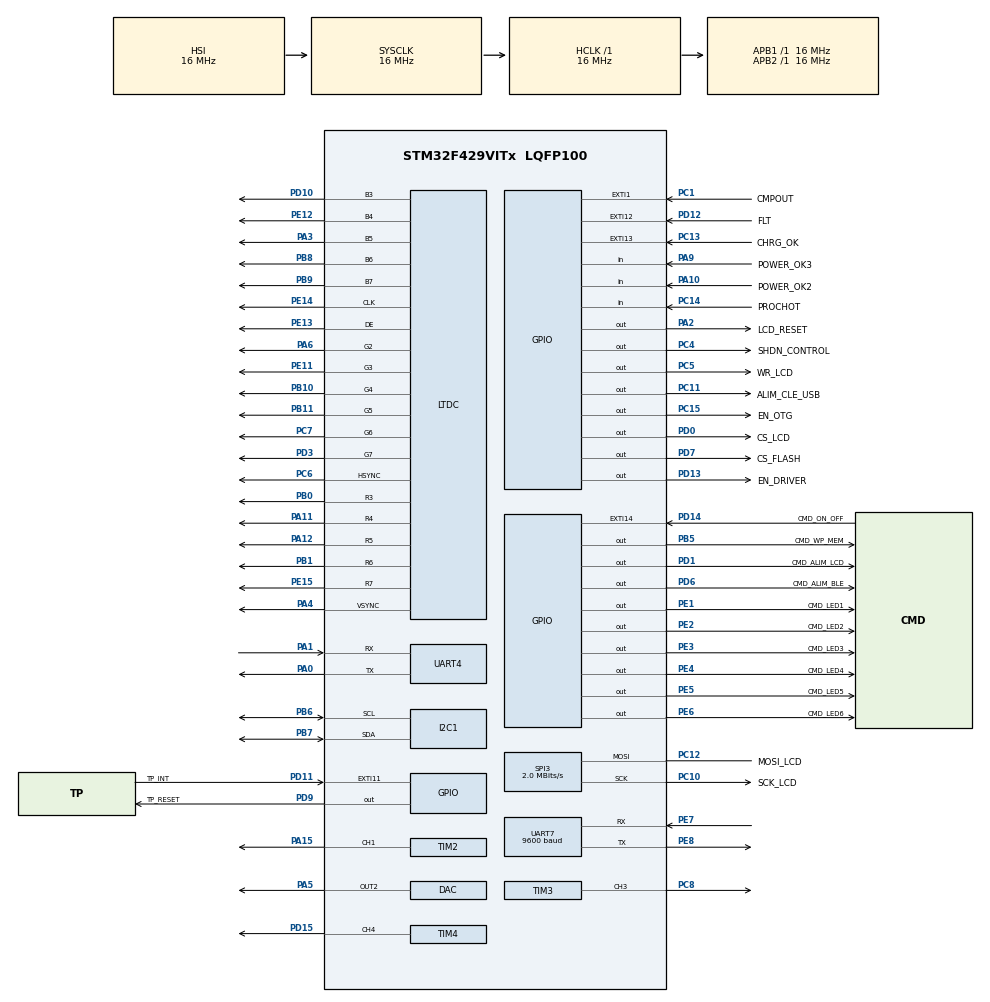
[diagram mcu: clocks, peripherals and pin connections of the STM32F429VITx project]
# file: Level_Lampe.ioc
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DMA2D.ColorMode=DMA2D_OUTPUT_RGB565
I2C1.I2C_Mode=I2C_Standard
LTDC.ActiveH=320
LTDC.ActiveW=240
LTDC.Alpha_L0=255
LTDC.FBStartAdress_L0=0xD0000000
LTDC.HBP=20
LTDC.HFP=10
LTDC.HSync=10
LTDC.ImageHeight_L0=320
LTDC.ImageWidth_L0=240
LTDC.Layers=0
LTDC.PixelFormat_L0=LTDC_PIXEL_FORMAT_RGB565
LTDC.PixelFormat_L1=LTDC_PIXEL_FORMAT_RGB565
LTDC.VFP=4
LTDC.VSync=2
LTDC.WindowX1_L0=240
LTDC.WindowY1_L0=320
Mcu.Family=STM32F4
Mcu.Name=STM32F429VITx
Mcu.Package=LQFP100
NVIC.EXTI15_10_IRQn=true\:0\:0\:false\:false\:true\:true\:true
NVIC.LTDC_ER_IRQn=true\:0\:0\:false\:false\:true\:true\:true
NVIC.LTDC_IRQn=true\:0\:0\:false\:false\:true\:true\:true
NVIC.PriorityGroup=NVIC_PRIORITYGROUP_4
NVIC.UART7_IRQn=true\:5\:0\:true\:false\:true\:true\:true
PA0/WKUP.Mode=Asynchronous
PA0/WKUP.Signal=UART4_TX
PA1.Mode=Asynchronous
PA1.Signal=UART4_RX
PA10.GPIO_Label=POWER_OK2
PA10.Signal=GPIO_Input
PA11.Mode=RGB565
PA11.Signal=LTDC_R4
PA12.Mode=RGB565
PA12.Signal=LTDC_R5
PA13.Mode=Serial_Wire
PA13.Signal=SYS_JTMS-SWDIO
PA14.Mode=Serial_Wire
PA14.Signal=SYS_JTCK-SWCLK
PA15.Signal=S_TIM2_CH1_ETR
PA2.GPIO_Label=LCD_RESET
PA2.Signal=GPIO_Output
PA3.Mode=RGB565
PA3.Signal=LTDC_B5
PA4.Mode=RGB565
PA4.Signal=LTDC_VSYNC
PA5.Signal=COMP_DAC2_group
PA6.Mode=RGB565
PA6.Signal=LTDC_G2
PA7.Signal=SPI1_MOSI
PA8.Signal=I2C3_SCL
PA9.GPIO_Label=POWER_OK3
PA9.Signal=GPIO_Input
PB0.Mode=RGB565
PB0.Signal=LTDC_R3
PB1.Mode=RGB565
PB1.Signal=LTDC_R6
PB10.Mode=RGB565
PB10.Signal=LTDC_G4
PB11.Mode=RGB565
PB11.Signal=LTDC_G5
PB14.Signal=USB_OTG_HS_DM
PB15.Signal=USB_OTG_HS_DP
PB3.Signal=SPI1_SCK
PB4.Signal=SPI1_MISO
PB5.GPIO_Label=CMD_WP_MEM
PB5.Signal=GPIO_Output
PB6.Mode=I2C
PB6.Signal=I2C1_SCL
PB7.Mode=I2C
PB7.Signal=I2C1_SDA
PB8.Mode=RGB565
PB8.Signal=LTDC_B6
PB9.Mode=RGB565
PB9.Signal=LTDC_B7
PC1.GPIO_Label=CMPOUT
PC1.Signal=GPXTI1
PC10.GPIO_Label=SCK_LCD
PC10.Mode=Simplex_Bidirectional_Master
PC10.Signal=SPI3_SCK
PC11.GPIO_Label=ALIM_CLE_USB
PC11.Signal=GPIO_Output
PC12.GPIO_Label=MOSI_LCD
PC12.Mode=Simplex_Bidirectional_Master
PC12.Signal=SPI3_MOSI
PC13.GPIO_Label=CHRG_OK
PC13.Signal=GPXTI13
PC14/OSC32_IN.GPIO_Label=PROCHOT
PC14/OSC32_IN.Signal=GPIO_Input
PC15/OSC32_OUT.GPIO_Label=EN_OTG
PC15/OSC32_OUT.Signal=GPIO_Output
PC4.GPIO_Label=SHDN_CONTROL
PC4.Signal=GPIO_Output
PC5.GPIO_Label=WR_LCD
PC5.Signal=GPIO_Output
PC6.Mode=RGB565
PC6.Signal=LTDC_HSYNC
PC7.Mode=RGB565
PC7.Signal=LTDC_G6
PC8.Signal=S_TIM3_CH3
PC9.Signal=I2C3_SDA
PD0.GPIO_Label=CS_LCD
PD0.Signal=GPIO_Output
PD1.GPIO_Label=CMD_ALIM_LCD
PD1.Signal=GPIO_Output
PD10.Mode=RGB565
PD10.Signal=LTDC_B3
PD11.GPIO_Label=TP_INT
PD11.Signal=GPXTI11
PD12.GPIO_Label=FLT
PD12.Signal=GPXTI12
PD13.GPIO_Label=EN_DRIVER
PD13.Signal=GPIO_Output
PD14.GPIO_Label=CMD_ON_OFF
PD14.GPIO_ModeDefaultEXTI=GPIO_MODE_IT_RISING_FALLING
PD14.Signal=GPXTI14
PD15.Signal=S_TIM4_CH4
PD3.Mode=RGB565
PD3.Signal=LTDC_G7
PD6.GPIO_Label=CMD_ALIM_BLE
PD6.Signal=GPIO_Output
PD7.GPIO_Label=CS_FLASH
PD7.Signal=GPIO_Output
PD9.GPIO_Label=TP_RESET
PD9.Signal=GPIO_Output
PE1.GPIO_Label=CMD_LED1
PE1.Signal=GPIO_Output
PE11.Mode=RGB565
PE11.Signal=LTDC_G3
PE12.Mode=RGB565
PE12.Signal=LTDC_B4
PE13.Mode=RGB565
PE13.Signal=LTDC_DE
PE14.Mode=RGB565
PE14.Signal=LTDC_CLK
PE15.Mode=RGB565
PE15.Signal=LTDC_R7
PE2.GPIO_Label=CMD_LED2
PE2.Signal=GPIO_Output
PE3.GPIO_Label=CMD_LED3
PE3.Signal=GPIO_Output
PE4.GPIO_Label=CMD_LED4
PE4.Signal=GPIO_Output
PE5.GPIO_Label=CMD_LED5
PE5.Signal=GPIO_Output
PE6.GPIO_Label=CMD_LED6
PE6.Signal=GPIO_Output
PE7.Mode=Asynchronous
PE7.Signal=UART7_RX
PE8.Mode=Asynchronous
PE8.Signal=UART7_TX
PH0/OSC_IN.Mode=HSE-External-Oscillator
PH0/OSC_IN.Signal=RCC_OSC_IN
PH1/OSC_OUT.Mode=HSE-External-Oscillator
PH1/OSC_OUT.Signal=RCC_OSC_OUT
ProjectManager.HeapSize=0x200
ProjectManager.StackSize=0x400
ProjectManager.TargetToolchain=STM32CubeIDE
RCC.48MHZClocksFreq_Value=48000000
RCC.AHBFreq_Value=16000000
RCC.APB1Freq_Value=16000000
RCC.APB1TimFreq_Value=16000000
RCC.APB2Freq_Value=16000000
RCC.APB2TimFreq_Value=16000000
RCC.CortexFreq_Value=16000000
RCC.HCLKFreq_Value=16000000
RCC.HSE_VALUE=25000000
RCC.HSI_VALUE=16000000
RCC.LSE_VALUE=32768
RCC.PLLSAIN=100
RCC.SYSCLKFreq_VALUE=16000000
RCC.VCOOutputFreq_Value=192000000
SH.COMP_DAC2_group.0=DAC_OUT2,DAC_OUT2
SH.S_TIM2_CH1_ETR.0=TIM2_CH1,PWM Generation1 CH1
SH.S_TIM3_CH3.0=TIM3_CH3,PWM Generation3 CH3
SH.S_TIM4_CH4.0=TIM4_CH4,PWM Generation4 CH4
SPI3.BaudRatePrescaler=SPI_BAUDRATEPRESCALER_8
SPI3.CalculateBaudRate=2.0 MBits/s
SPI3.DataSize=SPI_DATASIZE_8BIT
SPI3.Direction=SPI_DIRECTION_1LINE
SPI3.Mode=SPI_MODE_MASTER
SPI3.VirtualType=VM_MASTER
STMicroelectronics.X-CUBE-TOUCHGFX.4.13.0.ApplicationCcGraphicsJjApplication=TouchGFXOoGenerator
STMicroelectronics.X-CUBE-TOUCHGFX.4.13.0.tgfx_buffering_strategy=Single
STMicroelectronics.X-CUBE-TOUCHGFX.4.13.0.tgfx_display_interface=disp_ltdc
STMicroelectronics.X-CUBE-TOUCHGFX.4.13.0.tgfx_hardware_accelerator=dma_2d
STMicroelectronics.X-CUBE-TOUCHGFX.4.13.0.tgfx_vsync=vsync_ltdc
TIM2.Channel-PWM\ Generation1\ CH1=TIM_CHANNEL_1
TIM2.Period=100
TIM2.Prescaler=119
TIM3.Channel-PWM\ Generation3\ CH3=TIM_CHANNEL_3
TIM3.Period=100
TIM3.Prescaler=119
TIM4.Channel-PWM\ Generation4\ CH4=TIM_CHANNEL_4
TIM4.Period=100
TIM4.Prescaler=119
UART4.VirtualMode=Asynchronous
UART7.BaudRate=9600
UART7.VirtualMode=Asynchronous
VP_CRC_VS_CRC.Mode=CRC_Activate
VP_DMA2D_VS_DMA2D.Mode=DMA2D_Activate
VP_STMicroelectronics.X-CUBE-TOUCHGFX_VS_GraphicsJjApplication_4.13.0.Mode=GraphicsJjApplication
VP_TIM1_VS_ClockSourceINT.Mode=Internal
board=custom

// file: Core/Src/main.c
/* USER CODE BEGIN Header */
/**
  ******************************************************************************
  * @file           : main.c
  * @brief          : Main program body
  ******************************************************************************
  * @attention
  *
  * <h2><center>&copy; Copyright (c) 2020 STMicroelectronics.
  * All rights reserved.</center></h2>
  *
  * This software component is licensed by ST under BSD 3-Clause license,
  * the "License"; You may not use this file except in compliance with the
  * License. You may obtain a copy of the License at:
  *                        opensource.org/licenses/BSD-3-Clause
  *
  ******************************************************************************
  */
/* USER CODE END Header */

#include "main.h"
#include "app_touchgfx.h"

/* USER CODE BEGIN Includes */
#include "uart_task.h"
#include "lexilight.h"
#include "bq25713.h"
/* USER CODE END Includes */

CRC_HandleTypeDef hcrc;

DAC_HandleTypeDef hdac;

DMA2D_HandleTypeDef hdma2d;

I2C_HandleTypeDef hi2c1;

LTDC_HandleTypeDef hltdc;

SPI_HandleTypeDef hspi3;

TIM_HandleTypeDef htim1;
TIM_HandleTypeDef htim2;
TIM_HandleTypeDef htim3;
TIM_HandleTypeDef htim4;

UART_HandleTypeDef huart4;
UART_HandleTypeDef huart7;

void SystemClock_Config(void);
static void MX_GPIO_Init(void);
static void MX_DAC_Init(void);
static void MX_LTDC_Init(void);
static void MX_CRC_Init(void);
static void MX_SPI3_Init(void);
static void MX_UART4_Init(void);
static void MX_TIM1_Init(void);
static void MX_DMA2D_Init(void);
static void MX_TIM2_Init(void);
static void MX_TIM3_Init(void);
static void MX_I2C1_Init(void);
static void MX_TIM4_Init(void);
static void MX_UART7_Init(void);
/* USER CODE BEGIN PFP */

#define LCD_CS_LOW()       	HAL_GPIO_WritePin(CS_LCD_GPIO_Port, CS_LCD_Pin, GPIO_PIN_RESET)
#define LCD_CS_HIGH()      	HAL_GPIO_WritePin(CS_LCD_GPIO_Port, CS_LCD_Pin, GPIO_PIN_SET)
#define LCD_WR_LOW()		HAL_GPIO_WritePin(WR_LCD_GPIO_Port, WR_LCD_Pin, GPIO_PIN_RESET)
#define LCD_WR_HIGH()		HAL_GPIO_WritePin(WR_LCD_GPIO_Port, WR_LCD_Pin, GPIO_PIN_SET)

static void SPIx_Error(void)
{
  /* De-initialize the SPI communication BUS */
  HAL_SPI_DeInit(&hspi3);

  /* Re- Initialize the SPI communication BUS */
   MX_SPI3_Init();
}

static void SPIx_Write(uint16_t Value)
{
  HAL_StatusTypeDef status = HAL_OK;

  status = HAL_SPI_Transmit(&hspi3, (uint8_t*) &Value, 1, 0x1000);

  /* Check the communication status */
  if(status != HAL_OK)
  {
    /* Re-Initialize the BUS */
    SPIx_Error();
  }
}

static uint32_t SPIx_Read()
{
  HAL_StatusTypeDef status = HAL_OK;
  uint32_t readvalue;

  status = HAL_SPI_Receive(&hspi3, (uint8_t*) &readvalue, 4, 0x1000);

  if(status != HAL_OK)
  {
    SPIx_Error();
  }

  return readvalue;
}

__weak void LCD_IO_Init(void)
{
   /* Set or Reset the control line */
    LCD_CS_LOW();
    LCD_CS_HIGH();
    MX_SPI3_Init();
}

__weak void     LCD_IO_WriteReg(uint8_t Reg){
	LCD_CS_LOW();
	LCD_WR_LOW();
	SPIx_Write(Reg);	// Start send 8 bit
	LCD_CS_HIGH();

}

__weak void     LCD_IO_WriteData(uint16_t RegValue){
	LCD_CS_LOW();
	LCD_WR_HIGH();
	SPIx_Write(RegValue);	// Start send 8 bit
	LCD_CS_HIGH();
}

__weak void LCD_IO_Delay(uint32_t Delay)
{
  HAL_Delay(Delay);
}

__weak uint16_t LCD_IO_ReadData(uint16_t RegValue)
{
	  uint32_t readvalue = 0;
	  /* Select: Chip Select low */
	  LCD_CS_LOW();

	  /* Reset WRX to send command */
	  LCD_WR_LOW();

	  SPIx_Write(RegValue);

	  readvalue = SPIx_Read();

	  /* Set WRX to send data */
	  LCD_WR_HIGH();

	  /* Deselect: Chip Select high */
	  LCD_CS_HIGH();

  return readvalue;
}
/* USER CODE END PFP */

/* USER CODE BEGIN 0 */
//variables need to be declared at the beginning

UART_DATA Uart_data;

void HAL_UART_RxCpltCallback(UART_HandleTypeDef *huart)
{
	if (huart->Instance == UART7)  //current UART
	{
		uint8_t i;
		if (Uart_data.Rx_indx == 0)  //clear Rx_Buffer before receiving new data
		{
			for (i=0 ; i<100 ; i++) {
				Uart_data.Rx_Buffer[i]=0;
			}
		}

		if ((Uart_data.Rx_data[0]!=10)&&(Uart_data.Rx_data[0]!=13)) //if received data different from ascii 13 (enter)
		{
			Uart_data.Rx_Buffer[Uart_data.Rx_indx]=Uart_data.Rx_data[0];    //add data to Rx_Buffer
			Uart_data.Rx_indx++;
		}
		else            //if received data = 13
		{
			Uart_data.Rx_indx=0;
			Uart_data.Transfer_cplt=true;//transfer complete, data is ready to read
			UART_Task();
		}
		HAL_UART_Receive_IT(&huart7, Uart_data.Rx_data, 1);   //activate UART receive interrupt every time
	}
}

void HAL_GPIO_EXTI_Callback (uint16_t GPIO_Pin){
	//Check open Lampe
	if ( GPIO_Pin == CMD_ON_OFF_Pin){
		if(HAL_GPIO_ReadPin(CMD_ON_OFF_GPIO_Port, CMD_ON_OFF_Pin) == GPIO_PIN_RESET){
			Lexi_Set_State_OFF();
			//HAL_GPIO_WritePin(GPIOD, GPIO_PIN_13, GPIO_PIN_RESET);
			//Turn off bluetooth
			HAL_GPIO_WritePin(CMD_ALIM_BLE_GPIO_Port, CMD_ALIM_BLE_Pin , GPIO_PIN_SET);
		}
		else
		{
			Lexi_Set_State_ON();
			HAL_GPIO_WritePin(CMD_ALIM_BLE_GPIO_Port, CMD_ALIM_BLE_Pin ,GPIO_PIN_RESET);
			//Turn on bluetooth
		}
	}
	//Check Charge Current
	if ( GPIO_Pin == CHRG_OK_Pin){
		if (HAL_GPIO_ReadPin(GPIOC, GPIO_PIN_13) == GPIO_PIN_SET){
			BQ25713_Default_Charge();
		}
	}
}

/* USER CODE END 0 */

int main(void)
{

  /* MCU Configuration--------------------------------------------------------*/

  /* Reset of all peripherals, Initializes the Flash interface and the Systick. */
  HAL_Init();

  /* Configure the system clock */
  SystemClock_Config();

  /* Initialize all configured peripherals */
  MX_GPIO_Init();
  MX_DAC_Init();
  //MX_LTDC_Init();
  MX_CRC_Init();
  MX_SPI3_Init();
  MX_UART4_Init();
  MX_TIM1_Init();
  MX_DMA2D_Init();
  MX_TIM2_Init();
  MX_TIM3_Init();
  MX_I2C1_Init();
  MX_TIM4_Init();
  MX_UART7_Init();
  MX_TouchGFX_Init();
  /* USER CODE BEGIN 2 */
  //HAL_GPIO_WritePin(GPIOD, GPIO_PIN_13,GPIO_PIN_SET);
  //HAL_Delay(1000);
	Lexi_Init_Data();								//Init Data LexiLight
	HAL_TIM_PWM_Start(&htim2, TIM_CHANNEL_1);		//Start PWM TIM2 Channel 1 -- LED LAMPE
	HAL_TIM_PWM_Start(&htim3, TIM_CHANNEL_3);		//Start PWM TIM3 Channel 3 -- LED DRIVER
	HAL_TIM_PWM_Start(&htim4, TIM_CHANNEL_4);		//Start PWM TIM4 Channel 1 -- LED BACKLIGHT
	HAL_TIM_Base_Start(&htim1);						//Start TIM1

	__HAL_TIM_SET_COMPARE(&htim2 , TIM_CHANNEL_1,0);	//Set Duty = 0
	__HAL_TIM_SET_COMPARE(&htim3 , TIM_CHANNEL_3,0);	//Set Duty = 0
	__HAL_TIM_SET_COMPARE(&htim4 , TIM_CHANNEL_4,100);	//Set Duty = 0
	HAL_GPIO_WritePin(GPIOD, GPIO_PIN_1, GPIO_PIN_RESET);

	HAL_UART_Receive_IT(&huart7, Uart_data.Rx_data, 1);
	UART_Init();
	BQ25713_Init( hi2c1);
	HAL_GPIO_WritePin(CMD_ALIM_LCD_GPIO_Port , CMD_ALIM_LCD_Pin , GPIO_PIN_SET);
	MX_LTDC_Init();
	//ST7789H2_Init();

	/*
	if (HAL_I2C_IsDeviceReady(&hi2c1, 0x01AD, 10, 1000) == HAL_OK){
		HAL_GPIO_WritePin(GPIOD, GPIO_PIN_1, GPIO_PIN_RESET);
	}
	uint8_t data[40];

	data[0] = 0x00;     // Pointer to address
	data[1] = 0x00;  	// MSB byte of 16bit data
	data[2] = 0x00;     // LSB byte of 16bit data
	*/
	//uint16_t regAddress = BQ25713_REG_CHARGE_OPTION_0;
	//HAL_I2C_Master_Transmit(&hi2c1, BQ25713_I2C_ADDRESS << 1, data, 1, 1000);
	//HAL_I2C_Mem_Read( &hi2c1, BQ25713_I2C_ADDRESS << 1, regAddress, 2, data, 2, 1000);
  /* USER CODE END 2 */

  /* Infinite loop */
  /* USER CODE BEGIN WHILE */
	/*
	data[0] = 0x00;
	data[1] = 0xff >> 8;
	data[2] = 0xff;
	*/
	uint8_t count =0;
  while (1)
  {
	  Lexi_Task (htim2, htim3);
	  count++;
	  if (count > 15){
		  BQ25713_Task();
		  count = 0;
	  }
	  HAL_Delay(100);
	  //HAL_I2C_Master_Transmit(&hi2c1, 0xD6, data, 3, 1000);
	  //HAL_I2C_Master_Receive( &hi2c1, 0xD6, data, 3, 1000);
	  //HAL_GPIO_WritePin(GPIOD, GPIO_PIN_1, GPIO_PIN_RESET);

	  /*
	  HAL_I2C_Mem_Read(&hi2c1, 0xD6, 0x2E, 2, data, 2, 1000);
	  HAL_GPIO_WritePin(GPIOD, GPIO_PIN_1, GPIO_PIN_RESET);
	  */
	  /*
	  	//HAL_I2C_Mem_Read( &hi2c1, BQ25713_I2C_ADDRESS << 1, regAddress, 2, data, 2, 1000);
	  	HAL_StatusTypeDef hal_status = HAL_I2C_Mem_Read(&hi2c1, 0x01AC, 0x2E, 2, data, 2, 1000);
	  	if (hal_status == HAL_OK)
	  	{
	  		HAL_GPIO_WritePin(GPIOD, GPIO_PIN_1, GPIO_PIN_RESET);
	  	}
	  	//HAL_I2C_Master_Receive(&hi2c1, 0x01AC, data,2, 1000);
	  	 * */
/*
	  HAL_Delay(2000);
		uint8_t buffer[100];
		uint8_t len;
	  sprintf(buffer,"hello test uart\r\n");
	  			len=strlen(buffer);
	  			HAL_UART_Transmit(&huart7, buffer, len, 1000);
	  			*/

    /* USER CODE END WHILE */

  //MX_TouchGFX_Process();
  }
}

void SystemClock_Config(void)
{
  RCC_OscInitTypeDef RCC_OscInitStruct = {0};
  RCC_ClkInitTypeDef RCC_ClkInitStruct = {0};
  RCC_PeriphCLKInitTypeDef PeriphClkInitStruct = {0};

  /** Macro to configure the PLL multiplication factor
  */
  __HAL_RCC_PLL_PLLM_CONFIG(16);
  /** Macro to configure the PLL clock source
  */
  __HAL_RCC_PLL_PLLSOURCE_CONFIG(RCC_PLLSOURCE_HSI);
  /** Configure the main internal regulator output voltage
  */
  __HAL_RCC_PWR_CLK_ENABLE();
  __HAL_PWR_VOLTAGESCALING_CONFIG(PWR_REGULATOR_VOLTAGE_SCALE3);
  /** Initializes the CPU, AHB and APB busses clocks
  */
  RCC_OscInitStruct.OscillatorType = RCC_OSCILLATORTYPE_HSI;
  RCC_OscInitStruct.HSIState = RCC_HSI_ON;
  RCC_OscInitStruct.HSICalibrationValue = RCC_HSICALIBRATION_DEFAULT;
  RCC_OscInitStruct.PLL.PLLState = RCC_PLL_NONE;
  RCC_OscInitStruct.PLL.PLLSource = RCC_PLLSOURCE_HSI;
  if (HAL_RCC_OscConfig(&RCC_OscInitStruct) != HAL_OK)
  {
    Error_Handler();
  }
  /** Initializes the CPU, AHB and APB busses clocks
  */
  RCC_ClkInitStruct.ClockType = RCC_CLOCKTYPE_HCLK|RCC_CLOCKTYPE_SYSCLK
                              |RCC_CLOCKTYPE_PCLK1|RCC_CLOCKTYPE_PCLK2;
  RCC_ClkInitStruct.SYSCLKSource = RCC_SYSCLKSOURCE_HSI;
  RCC_ClkInitStruct.AHBCLKDivider = RCC_SYSCLK_DIV1;
  RCC_ClkInitStruct.APB1CLKDivider = RCC_HCLK_DIV1;
  RCC_ClkInitStruct.APB2CLKDivider = RCC_HCLK_DIV1;

  if (HAL_RCC_ClockConfig(&RCC_ClkInitStruct, FLASH_LATENCY_0) != HAL_OK)
  {
    Error_Handler();
  }
  PeriphClkInitStruct.PeriphClockSelection = RCC_PERIPHCLK_LTDC;
  PeriphClkInitStruct.PLLSAI.PLLSAIN = 100;
  PeriphClkInitStruct.PLLSAI.PLLSAIR = 2;
  PeriphClkInitStruct.PLLSAIDivR = RCC_PLLSAIDIVR_2;
  if (HAL_RCCEx_PeriphCLKConfig(&PeriphClkInitStruct) != HAL_OK)
  {
    Error_Handler();
  }
}

static void MX_CRC_Init(void)
{

  hcrc.Instance = CRC;
  if (HAL_CRC_Init(&hcrc) != HAL_OK)
  {
    Error_Handler();
  }

}

static void MX_DAC_Init(void)
{

  DAC_ChannelConfTypeDef sConfig = {0};

  /** DAC Initialization
  */
  hdac.Instance = DAC;
  if (HAL_DAC_Init(&hdac) != HAL_OK)
  {
    Error_Handler();
  }
  /** DAC channel OUT2 config
  */
  sConfig.DAC_Trigger = DAC_TRIGGER_NONE;
  sConfig.DAC_OutputBuffer = DAC_OUTPUTBUFFER_ENABLE;
  if (HAL_DAC_ConfigChannel(&hdac, &sConfig, DAC_CHANNEL_2) != HAL_OK)
  {
    Error_Handler();
  }

}

static void MX_DMA2D_Init(void)
{

  hdma2d.Instance = DMA2D;
  hdma2d.Init.Mode = DMA2D_M2M;
  hdma2d.Init.ColorMode = DMA2D_OUTPUT_RGB565;
  hdma2d.Init.OutputOffset = 0;
  hdma2d.LayerCfg[1].InputOffset = 0;
  hdma2d.LayerCfg[1].InputColorMode = DMA2D_INPUT_RGB565;
  hdma2d.LayerCfg[1].AlphaMode = DMA2D_NO_MODIF_ALPHA;
  hdma2d.LayerCfg[1].InputAlpha = 0;
  if (HAL_DMA2D_Init(&hdma2d) != HAL_OK)
  {
    Error_Handler();
  }
  if (HAL_DMA2D_ConfigLayer(&hdma2d, 1) != HAL_OK)
  {
    Error_Handler();
  }

}

static void MX_I2C1_Init(void)
{

  hi2c1.Instance = I2C1;
  hi2c1.Init.ClockSpeed = 100000;
  hi2c1.Init.DutyCycle = I2C_DUTYCYCLE_2;
  hi2c1.Init.OwnAddress1 = 0;
  hi2c1.Init.AddressingMode = I2C_ADDRESSINGMODE_7BIT;
  hi2c1.Init.DualAddressMode = I2C_DUALADDRESS_DISABLE;
  hi2c1.Init.OwnAddress2 = 0;
  hi2c1.Init.GeneralCallMode = I2C_GENERALCALL_DISABLE;
  hi2c1.Init.NoStretchMode = I2C_NOSTRETCH_DISABLE;
  if (HAL_I2C_Init(&hi2c1) != HAL_OK)
  {
    Error_Handler();
  }
  /** Configure Analogue filter
  */
  if (HAL_I2CEx_ConfigAnalogFilter(&hi2c1, I2C_ANALOGFILTER_ENABLE) != HAL_OK)
  {
    Error_Handler();
  }
  /** Configure Digital filter
  */
  if (HAL_I2CEx_ConfigDigitalFilter(&hi2c1, 0) != HAL_OK)
  {
    Error_Handler();
  }

}

static void MX_LTDC_Init(void)
{

  LTDC_LayerCfgTypeDef pLayerCfg = {0};

  /* USER CODE BEGIN LTDC_Init 1 */
  ST7789H2_Init();

 /* De-Initialize LTDC */
  HAL_LTDC_DeInit(&hltdc);
  /* USER CODE END LTDC_Init 1 */
  hltdc.Instance = LTDC;
  hltdc.Init.HSPolarity = LTDC_HSPOLARITY_AL;
  hltdc.Init.VSPolarity = LTDC_VSPOLARITY_AL;
  hltdc.Init.DEPolarity = LTDC_DEPOLARITY_AL;
  hltdc.Init.PCPolarity = LTDC_PCPOLARITY_IPC;
  hltdc.Init.HorizontalSync = 9;
  hltdc.Init.VerticalSync = 1;
  hltdc.Init.AccumulatedHBP = 29;
  hltdc.Init.AccumulatedVBP = 3;
  hltdc.Init.AccumulatedActiveW = 269;
  hltdc.Init.AccumulatedActiveH = 323;
  hltdc.Init.TotalWidth = 279;
  hltdc.Init.TotalHeigh = 327;
  hltdc.Init.Backcolor.Blue = 0;
  hltdc.Init.Backcolor.Green = 0;
  hltdc.Init.Backcolor.Red = 0;
  if (HAL_LTDC_Init(&hltdc) != HAL_OK)
  {
    Error_Handler();
  }
  pLayerCfg.WindowX0 = 0;
  pLayerCfg.WindowX1 = 240;
  pLayerCfg.WindowY0 = 0;
  pLayerCfg.WindowY1 = 320;
  pLayerCfg.PixelFormat = LTDC_PIXEL_FORMAT_RGB565;
  pLayerCfg.Alpha = 255;
  pLayerCfg.Alpha0 = 0;
  pLayerCfg.BlendingFactor1 = LTDC_BLENDING_FACTOR1_CA;
  pLayerCfg.BlendingFactor2 = LTDC_BLENDING_FACTOR2_CA;
  pLayerCfg.FBStartAdress = 0xD0000000;
  pLayerCfg.ImageWidth = 240;
  pLayerCfg.ImageHeight = 320;
  pLayerCfg.Backcolor.Blue = 0;
  pLayerCfg.Backcolor.Green = 0;
  pLayerCfg.Backcolor.Red = 0;
  if (HAL_LTDC_ConfigLayer(&hltdc, &pLayerCfg, 0) != HAL_OK)
  {
    Error_Handler();
  }

}

static void MX_SPI3_Init(void)
{

  /* SPI3 parameter configuration*/
  hspi3.Instance = SPI3;
  hspi3.Init.Mode = SPI_MODE_MASTER;
  hspi3.Init.Direction = SPI_DIRECTION_1LINE;
  hspi3.Init.DataSize = SPI_DATASIZE_8BIT;
  hspi3.Init.CLKPolarity = SPI_POLARITY_LOW;
  hspi3.Init.CLKPhase = SPI_PHASE_1EDGE;
  hspi3.Init.NSS = SPI_NSS_SOFT;
  hspi3.Init.BaudRatePrescaler = SPI_BAUDRATEPRESCALER_8;
  hspi3.Init.FirstBit = SPI_FIRSTBIT_MSB;
  hspi3.Init.TIMode = SPI_TIMODE_DISABLE;
  hspi3.Init.CRCCalculation = SPI_CRCCALCULATION_DISABLE;
  hspi3.Init.CRCPolynomial = 10;
  if (HAL_SPI_Init(&hspi3) != HAL_OK)
  {
    Error_Handler();
  }

}

static void MX_TIM1_Init(void)
{

  TIM_ClockConfigTypeDef sClockSourceConfig = {0};
  TIM_MasterConfigTypeDef sMasterConfig = {0};

  htim1.Instance = TIM1;
  htim1.Init.Prescaler = 0;
  htim1.Init.CounterMode = TIM_COUNTERMODE_UP;
  htim1.Init.Period = 0;
  htim1.Init.ClockDivision = TIM_CLOCKDIVISION_DIV1;
  htim1.Init.RepetitionCounter = 0;
  htim1.Init.AutoReloadPreload = TIM_AUTORELOAD_PRELOAD_DISABLE;
  if (HAL_TIM_Base_Init(&htim1) != HAL_OK)
  {
    Error_Handler();
  }
  sClockSourceConfig.ClockSource = TIM_CLOCKSOURCE_INTERNAL;
  if (HAL_TIM_ConfigClockSource(&htim1, &sClockSourceConfig) != HAL_OK)
  {
    Error_Handler();
  }
  sMasterConfig.MasterOutputTrigger = TIM_TRGO_RESET;
  sMasterConfig.MasterSlaveMode = TIM_MASTERSLAVEMODE_DISABLE;
  if (HAL_TIMEx_MasterConfigSynchronization(&htim1, &sMasterConfig) != HAL_OK)
  {
    Error_Handler();
  }

}

static void MX_TIM2_Init(void)
{

  TIM_MasterConfigTypeDef sMasterConfig = {0};
  TIM_OC_InitTypeDef sConfigOC = {0};

  htim2.Instance = TIM2;
  htim2.Init.Prescaler = 119;
  htim2.Init.CounterMode = TIM_COUNTERMODE_UP;
  htim2.Init.Period = 100;
  htim2.Init.ClockDivision = TIM_CLOCKDIVISION_DIV1;
  htim2.Init.AutoReloadPreload = TIM_AUTORELOAD_PRELOAD_DISABLE;
  if (HAL_TIM_PWM_Init(&htim2) != HAL_OK)
  {
    Error_Handler();
  }
  sMasterConfig.MasterOutputTrigger = TIM_TRGO_RESET;
  sMasterConfig.MasterSlaveMode = TIM_MASTERSLAVEMODE_DISABLE;
  if (HAL_TIMEx_MasterConfigSynchronization(&htim2, &sMasterConfig) != HAL_OK)
  {
    Error_Handler();
  }
  sConfigOC.OCMode = TIM_OCMODE_PWM1;
  sConfigOC.Pulse = 0;
  sConfigOC.OCPolarity = TIM_OCPOLARITY_HIGH;
  sConfigOC.OCFastMode = TIM_OCFAST_DISABLE;
  if (HAL_TIM_PWM_ConfigChannel(&htim2, &sConfigOC, TIM_CHANNEL_1) != HAL_OK)
  {
    Error_Handler();
  }
  HAL_TIM_MspPostInit(&htim2);

}

static void MX_TIM3_Init(void)
{

  TIM_MasterConfigTypeDef sMasterConfig = {0};
  TIM_OC_InitTypeDef sConfigOC = {0};

  htim3.Instance = TIM3;
  htim3.Init.Prescaler = 119;
  htim3.Init.CounterMode = TIM_COUNTERMODE_UP;
  htim3.Init.Period = 100;
  htim3.Init.ClockDivision = TIM_CLOCKDIVISION_DIV1;
  htim3.Init.AutoReloadPreload = TIM_AUTORELOAD_PRELOAD_DISABLE;
  if (HAL_TIM_PWM_Init(&htim3) != HAL_OK)
  {
    Error_Handler();
  }
  sMasterConfig.MasterOutputTrigger = TIM_TRGO_RESET;
  sMasterConfig.MasterSlaveMode = TIM_MASTERSLAVEMODE_DISABLE;
  if (HAL_TIMEx_MasterConfigSynchronization(&htim3, &sMasterConfig) != HAL_OK)
  {
    Error_Handler();
  }
  sConfigOC.OCMode = TIM_OCMODE_PWM1;
  sConfigOC.Pulse = 0;
  sConfigOC.OCPolarity = TIM_OCPOLARITY_HIGH;
  sConfigOC.OCFastMode = TIM_OCFAST_DISABLE;
  if (HAL_TIM_PWM_ConfigChannel(&htim3, &sConfigOC, TIM_CHANNEL_3) != HAL_OK)
  {
    Error_Handler();
  }
  HAL_TIM_MspPostInit(&htim3);

}

static void MX_TIM4_Init(void)
{

  TIM_MasterConfigTypeDef sMasterConfig = {0};
  TIM_OC_InitTypeDef sConfigOC = {0};

  htim4.Instance = TIM4;
  htim4.Init.Prescaler = 119;
  htim4.Init.CounterMode = TIM_COUNTERMODE_UP;
  htim4.Init.Period = 100;
  htim4.Init.ClockDivision = TIM_CLOCKDIVISION_DIV1;
  htim4.Init.AutoReloadPreload = TIM_AUTORELOAD_PRELOAD_DISABLE;
  if (HAL_TIM_PWM_Init(&htim4) != HAL_OK)
  {
    Error_Handler();
  }
  sMasterConfig.MasterOutputTrigger = TIM_TRGO_RESET;
  sMasterConfig.MasterSlaveMode = TIM_MASTERSLAVEMODE_DISABLE;
  if (HAL_TIMEx_MasterConfigSynchronization(&htim4, &sMasterConfig) != HAL_OK)
  {
    Error_Handler();
  }
  sConfigOC.OCMode = TIM_OCMODE_PWM1;
  sConfigOC.Pulse = 0;
  sConfigOC.OCPolarity = TIM_OCPOLARITY_HIGH;
  sConfigOC.OCFastMode = TIM_OCFAST_DISABLE;
  if (HAL_TIM_PWM_ConfigChannel(&htim4, &sConfigOC, TIM_CHANNEL_4) != HAL_OK)
  {
    Error_Handler();
  }
  HAL_TIM_MspPostInit(&htim4);

}

static void MX_UART4_Init(void)
{

  huart4.Instance = UART4;
  huart4.Init.BaudRate = 115200;
  huart4.Init.WordLength = UART_WORDLENGTH_8B;
  huart4.Init.StopBits = UART_STOPBITS_1;
  huart4.Init.Parity = UART_PARITY_NONE;
  huart4.Init.Mode = UART_MODE_TX_RX;
  huart4.Init.HwFlowCtl = UART_HWCONTROL_NONE;
  huart4.Init.OverSampling = UART_OVERSAMPLING_16;
  if (HAL_UART_Init(&huart4) != HAL_OK)
  {
    Error_Handler();
  }

}

static void MX_UART7_Init(void)
{

  huart7.Instance = UART7;
  huart7.Init.BaudRate = 9600;
  huart7.Init.WordLength = UART_WORDLENGTH_8B;
  huart7.Init.StopBits = UART_STOPBITS_1;
  huart7.Init.Parity = UART_PARITY_NONE;
  huart7.Init.Mode = UART_MODE_TX_RX;
  huart7.Init.HwFlowCtl = UART_HWCONTROL_NONE;
  huart7.Init.OverSampling = UART_OVERSAMPLING_16;
  if (HAL_UART_Init(&huart7) != HAL_OK)
  {
    Error_Handler();
  }

}

static void MX_GPIO_Init(void)
{
  GPIO_InitTypeDef GPIO_InitStruct = {0};

  /* GPIO Ports Clock Enable */
  __HAL_RCC_GPIOE_CLK_ENABLE();
  __HAL_RCC_GPIOC_CLK_ENABLE();
  __HAL_RCC_GPIOH_CLK_ENABLE();
  __HAL_RCC_GPIOA_CLK_ENABLE();
  __HAL_RCC_GPIOB_CLK_ENABLE();
  __HAL_RCC_GPIOD_CLK_ENABLE();

  /*Configure GPIO pin Output Level */
  HAL_GPIO_WritePin(GPIOE, CMD_LED2_Pin|CMD_LED3_Pin|CMD_LED4_Pin|CMD_LED5_Pin
                          |CMD_LED6_Pin|CMD_LED1_Pin, GPIO_PIN_RESET);

  /*Configure GPIO pin Output Level */
  HAL_GPIO_WritePin(GPIOC, EN_OTG_Pin|SHDN_CONTROL_Pin|WR_LCD_Pin|ALIM_CLE_USB_Pin, GPIO_PIN_RESET);

  /*Configure GPIO pin Output Level */
  HAL_GPIO_WritePin(LCD_RESET_GPIO_Port, LCD_RESET_Pin, GPIO_PIN_RESET);

  /*Configure GPIO pin Output Level */
  HAL_GPIO_WritePin(GPIOD, TP_RESET_Pin|EN_DRIVER_Pin|CS_LCD_Pin|CMD_ALIM_LCD_Pin
                          |CMD_ALIM_BLE_Pin|CS_FLASH_Pin, GPIO_PIN_RESET);

  /*Configure GPIO pin Output Level */
  HAL_GPIO_WritePin(CMD_WP_MEM_GPIO_Port, CMD_WP_MEM_Pin, GPIO_PIN_RESET);

  /*Configure GPIO pins : CMD_LED2_Pin CMD_LED3_Pin CMD_LED4_Pin CMD_LED5_Pin
                           CMD_LED6_Pin CMD_LED1_Pin */
  GPIO_InitStruct.Pin = CMD_LED2_Pin|CMD_LED3_Pin|CMD_LED4_Pin|CMD_LED5_Pin
                          |CMD_LED6_Pin|CMD_LED1_Pin;
  GPIO_InitStruct.Mode = GPIO_MODE_OUTPUT_PP;
  GPIO_InitStruct.Pull = GPIO_NOPULL;
  GPIO_InitStruct.Speed = GPIO_SPEED_FREQ_LOW;
  HAL_GPIO_Init(GPIOE, &GPIO_InitStruct);

  /*Configure GPIO pins : CHRG_OK_Pin CMPOUT_Pin */
  GPIO_InitStruct.Pin = CHRG_OK_Pin|CMPOUT_Pin;
  GPIO_InitStruct.Mode = GPIO_MODE_IT_RISING;
  GPIO_InitStruct.Pull = GPIO_NOPULL;
  HAL_GPIO_Init(GPIOC, &GPIO_InitStruct);

  /*Configure GPIO pin : PROCHOT_Pin */
  GPIO_InitStruct.Pin = PROCHOT_Pin;
  GPIO_InitStruct.Mode = GPIO_MODE_INPUT;
  GPIO_InitStruct.Pull = GPIO_NOPULL;
  HAL_GPIO_Init(PROCHOT_GPIO_Port, &GPIO_InitStruct);

  /*Configure GPIO pins : EN_OTG_Pin SHDN_CONTROL_Pin WR_LCD_Pin ALIM_CLE_USB_Pin */
  GPIO_InitStruct.Pin = EN_OTG_Pin|SHDN_CONTROL_Pin|WR_LCD_Pin|ALIM_CLE_USB_Pin;
  GPIO_InitStruct.Mode = GPIO_MODE_OUTPUT_PP;
  GPIO_InitStruct.Pull = GPIO_NOPULL;
  GPIO_InitStruct.Speed = GPIO_SPEED_FREQ_LOW;
  HAL_GPIO_Init(GPIOC, &GPIO_InitStruct);

  /*Configure GPIO pin : LCD_RESET_Pin */
  GPIO_InitStruct.Pin = LCD_RESET_Pin;
  GPIO_InitStruct.Mode = GPIO_MODE_OUTPUT_PP;
  GPIO_InitStruct.Pull = GPIO_NOPULL;
  GPIO_InitStruct.Speed = GPIO_SPEED_FREQ_LOW;
  HAL_GPIO_Init(LCD_RESET_GPIO_Port, &GPIO_InitStruct);

  /*Configure GPIO pin : PA7 */
  GPIO_InitStruct.Pin = GPIO_PIN_7;
  GPIO_InitStruct.Mode = GPIO_MODE_AF_PP;
  GPIO_InitStruct.Pull = GPIO_NOPULL;
  GPIO_InitStruct.Speed = GPIO_SPEED_FREQ_VERY_HIGH;
  GPIO_InitStruct.Alternate = GPIO_AF5_SPI1;
  HAL_GPIO_Init(GPIOA, &GPIO_InitStruct);

  /*Configure GPIO pins : PB14 PB15 */
  GPIO_InitStruct.Pin = GPIO_PIN_14|GPIO_PIN_15;
  GPIO_InitStruct.Mode = GPIO_MODE_AF_PP;
  GPIO_InitStruct.Pull = GPIO_NOPULL;
  GPIO_InitStruct.Speed = GPIO_SPEED_FREQ_VERY_HIGH;
  GPIO_InitStruct.Alternate = GPIO_AF12_OTG_HS_FS;
  HAL_GPIO_Init(GPIOB, &GPIO_InitStruct);

  /*Configure GPIO pins : TP_RESET_Pin EN_DRIVER_Pin CS_LCD_Pin CMD_ALIM_LCD_Pin
                           CMD_ALIM_BLE_Pin CS_FLASH_Pin */
  GPIO_InitStruct.Pin = TP_RESET_Pin|EN_DRIVER_Pin|CS_LCD_Pin|CMD_ALIM_LCD_Pin
                          |CMD_ALIM_BLE_Pin|CS_FLASH_Pin;
  //GPIO_InitStruct.Pin = CS_LCD_Pin | CMD_ALIM_LCD_Pin |CMD_ALIM_BLE_Pin|CS_FLASH_Pin;

  GPIO_InitStruct.Mode = GPIO_MODE_OUTPUT_PP;
  GPIO_InitStruct.Pull = GPIO_NOPULL;
  GPIO_InitStruct.Speed = GPIO_SPEED_FREQ_LOW;
  HAL_GPIO_Init(GPIOD, &GPIO_InitStruct);

  /*Configure GPIO pins : TP_INT_Pin FLT_Pin */
  GPIO_InitStruct.Pin = TP_INT_Pin|FLT_Pin;
  GPIO_InitStruct.Mode = GPIO_MODE_IT_RISING;
  GPIO_InitStruct.Pull = GPIO_NOPULL;
  HAL_GPIO_Init(GPIOD, &GPIO_InitStruct);

  /*Configure GPIO pin : CMD_ON_OFF_Pin */
  GPIO_InitStruct.Pin = CMD_ON_OFF_Pin;
  GPIO_InitStruct.Mode = GPIO_MODE_IT_RISING_FALLING;
  GPIO_InitStruct.Pull = GPIO_NOPULL;
  HAL_GPIO_Init(CMD_ON_OFF_GPIO_Port, &GPIO_InitStruct);

  /*Configure GPIO pin : PC9 */
  GPIO_InitStruct.Pin = GPIO_PIN_9;
  GPIO_InitStruct.Mode = GPIO_MODE_AF_OD;
  GPIO_InitStruct.Pull = GPIO_PULLUP;
  GPIO_InitStruct.Speed = GPIO_SPEED_FREQ_VERY_HIGH;
  GPIO_InitStruct.Alternate = GPIO_AF4_I2C3;
  HAL_GPIO_Init(GPIOC, &GPIO_InitStruct);

  /*Configure GPIO pin : PA8 */
  GPIO_InitStruct.Pin = GPIO_PIN_8;
  GPIO_InitStruct.Mode = GPIO_MODE_AF_OD;
  GPIO_InitStruct.Pull = GPIO_PULLUP;
  GPIO_InitStruct.Speed = GPIO_SPEED_FREQ_VERY_HIGH;
  GPIO_InitStruct.Alternate = GPIO_AF4_I2C3;
  HAL_GPIO_Init(GPIOA, &GPIO_InitStruct);

  /*Configure GPIO pins : POWER_OK3_Pin POWER_OK2_Pin */
  GPIO_InitStruct.Pin = POWER_OK3_Pin|POWER_OK2_Pin;
  GPIO_InitStruct.Mode = GPIO_MODE_INPUT;
  GPIO_InitStruct.Pull = GPIO_NOPULL;
  HAL_GPIO_Init(GPIOA, &GPIO_InitStruct);

  /*Configure GPIO pins : PB3 PB4 */
  GPIO_InitStruct.Pin = GPIO_PIN_3|GPIO_PIN_4;
  GPIO_InitStruct.Mode = GPIO_MODE_AF_PP;
  GPIO_InitStruct.Pull = GPIO_NOPULL;
  GPIO_InitStruct.Speed = GPIO_SPEED_FREQ_VERY_HIGH;
  GPIO_InitStruct.Alternate = GPIO_AF5_SPI1;
  HAL_GPIO_Init(GPIOB, &GPIO_InitStruct);

  /*Configure GPIO pin : CMD_WP_MEM_Pin */
  GPIO_InitStruct.Pin = CMD_WP_MEM_Pin;
  GPIO_InitStruct.Mode = GPIO_MODE_OUTPUT_PP;
  GPIO_InitStruct.Pull = GPIO_NOPULL;
  GPIO_InitStruct.Speed = GPIO_SPEED_FREQ_LOW;
  HAL_GPIO_Init(CMD_WP_MEM_GPIO_Port, &GPIO_InitStruct);

  /* EXTI interrupt init*/
  HAL_NVIC_SetPriority(EXTI15_10_IRQn, 0, 0);
  HAL_NVIC_EnableIRQ(EXTI15_10_IRQn);

}

void Error_Handler(void)
{
}

/************************ (C) COPYRIGHT STMicroelectronics *****END OF FILE****/
